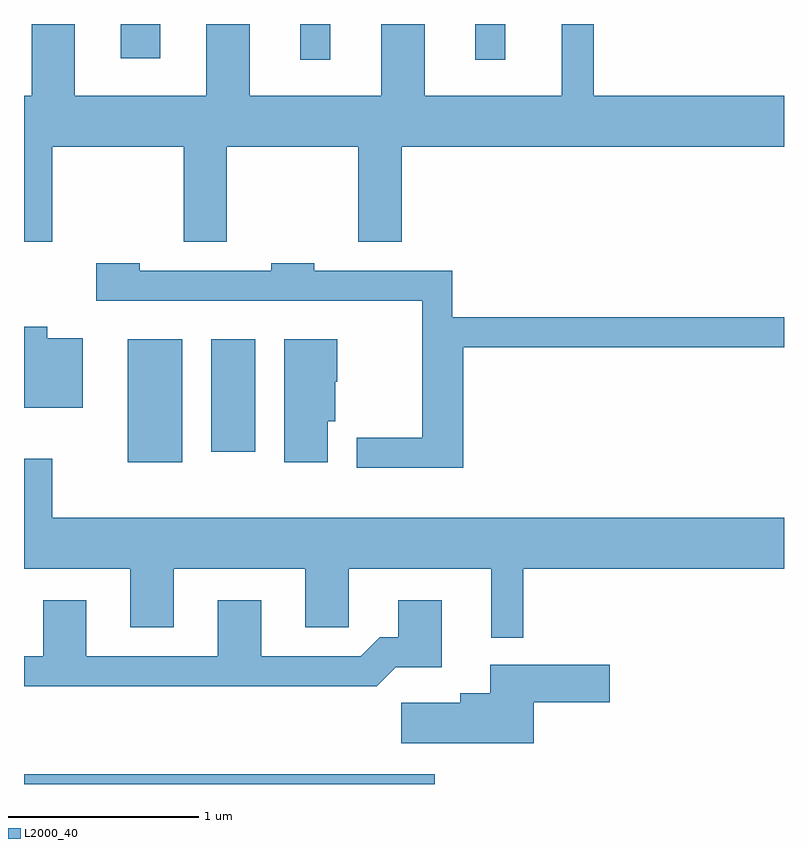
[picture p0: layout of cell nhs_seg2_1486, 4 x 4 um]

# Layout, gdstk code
import gdstk
lib = gdstk.Library(unit=1e-6, precision=1e-09)
def R(c, l, rs):  # rectangles x0, y0, x1, y1
    for r in rs: c.add(gdstk.rectangle(r[:2], r[2:], *l))
def P(c, l, *ps):  # polygons
    for p in ps: c.add(gdstk.Polygon(p, *l))
L2000_40 = (2000, 40)

nhs_seg2_1486 = lib.new_cell('nhs_seg2_1486')
R(nhs_seg2_1486, L2000_40, [(227.611,1093.802,229.774,1093.854), (228.156,1095.496,228.444,1096.144), (228.596,1095.551,228.829,1096.144), (229.066,1097.613,229.224,1097.802), (229.986,1097.613,230.144,1097.802), (228.121,1097.621,228.329,1097.802)])
P(nhs_seg2_1486, L2000_40, [(227.759,1097.156),(228.451,1097.156),(228.451,1096.656),(228.679,1096.656),(228.679,1097.156),(229.371,1097.156),(229.371,1096.656),(229.599,1096.656),(229.599,1097.156),(231.611,1097.156),(231.611,1097.424),(230.609,1097.424),(230.609,1097.802),(230.441,1097.802),(230.441,1097.424),(229.719,1097.424),(229.719,1097.802),(229.491,1097.802),(229.491,1097.424),(228.799,1097.424),(228.799,1097.802),(228.571,1097.802),(228.571,1097.424),(227.879,1097.424),(227.879,1097.802),(227.651,1097.802),(227.651,1097.424),(227.611,1097.424),(227.611,1096.656),(227.759,1096.656)],
  [(229.924,1096.101),(231.611,1096.101),(231.611,1096.259),(229.864,1096.259),(229.864,1096.504),(229.139,1096.504),(229.139,1096.544),(228.911,1096.544),(228.911,1096.504),(228.219,1096.504),(228.219,1096.544),(227.991,1096.544),(227.991,1096.346),(229.706,1096.346),(229.706,1095.624),(229.363,1095.624),(229.363,1095.466),(229.924,1095.466)],
  [(227.919,1096.149),(227.734,1096.149),(227.734,1096.209),(227.611,1096.209),(227.611,1095.781),(227.919,1095.781)],
  [(229.209,1095.711),(229.249,1095.711),(229.249,1095.92),(229.259,1095.92),(229.259,1096.144),(228.981,1096.144),(228.981,1095.496),(229.209,1095.496)],
  [(230.239,1094.936),(231.611,1094.936),(231.611,1095.204),(227.759,1095.204),(227.759,1095.514),(227.611,1095.514),(227.611,1094.936),(228.171,1094.936),(228.171,1094.626),(228.399,1094.626),(228.399,1094.936),(229.091,1094.936),(229.091,1094.626),(229.319,1094.626),(229.319,1094.936),(230.071,1094.936),(230.071,1094.573),(230.239,1094.573)],
  [(229.567,1094.416),(229.809,1094.416),(229.809,1094.769),(229.581,1094.769),(229.581,1094.574),(229.484,1094.574),(229.384,1094.474),(228.859,1094.474),(228.859,1094.769),(228.631,1094.769),(228.631,1094.474),(227.939,1094.474),(227.939,1094.769),(227.711,1094.769),(227.711,1094.474),(227.611,1094.474),(227.611,1094.316),(229.467,1094.316)],
  [(230.294,1094.231),(230.694,1094.231),(230.694,1094.429),(230.066,1094.429),(230.066,1094.279),(229.906,1094.279),(229.906,1094.229),(229.596,1094.229),(229.596,1094.016),(230.294,1094.016)])

lib.write_gds('nhs_seg2_1486.gds')
